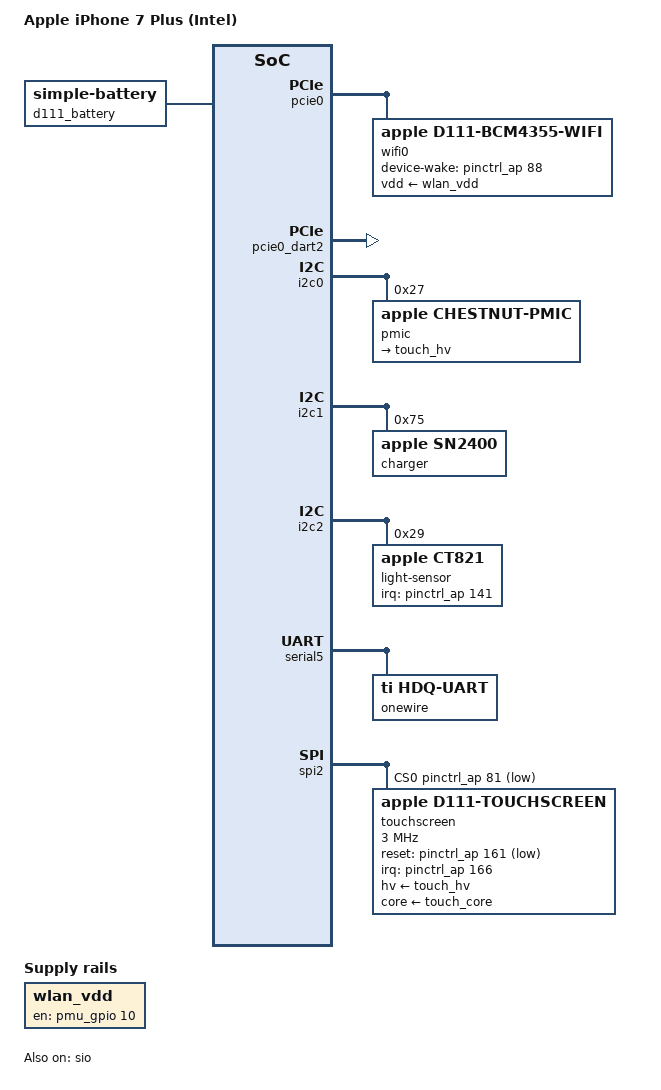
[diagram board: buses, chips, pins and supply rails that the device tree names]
// SPDX-License-Identifier: GPL-2.0+ OR MIT
/*
 * Apple iPhone 7 Plus (Intel), D111, iPhone9,4 (A1661/A1784/A1785/A1786)
 * Copyright (c) 2022, Konrad Dybcio <konradybcio@kernel.org>
 */

/dts-v1/;

#include "t8010-7.dtsi"

/ {
	compatible = "apple,d111", "apple,t8010", "apple,arm-platform";
	model = "Apple iPhone 7 Plus (Intel)";

	aliases {
		touchscreen0 = &touchscreen;
		wifi0 = &wifi0;
	};

	d111_battery: battery {
		compatible = "simple-battery";
		constant-charge-current-max-microamp = <1950000>;
	};

	wlan_vdd: regulator-wlan-vdd {
		compatible = "regulator-fixed";
		regulator-name = "wlan-vdd";
		gpio = <&pmu_gpio 10 GPIO_ACTIVE_HIGH>;
		enable-active-high;
		off-on-delay-us = <2500>;
	};
};

&pcie0 {
	iommu-map = <0x100 &pcie0_dart0 0 1>,
		    <0x200 &pcie0_dart2 0 1>;
	pinctrl-0 = <&wifi_clkreq>;
	pinctrl-names = "default";

	pci@2,0 {
		device_type = "pci";
		reg = <0x1000 0x0 0x0 0x0 0x0>;
		bus-range = <2 2>;
		max-link-speed = <1>;
		apple,manual-availability-iommu = <&pcie0_dart2 0>;
		reset-gpios = <&pinctrl_ap 14 GPIO_ACTIVE_LOW>;

		#address-cells = <3>;
		#size-cells = <2>;
		ranges;

		wifi0: wifi@0,0 {
			compatible = "apple,d111-bcm4355-wifi",
				     "pci14e4,43dc";
			reg = <0x20000 0x0 0x0 0x0 0x0>;
			device-wake-gpios = <&pinctrl_ap 88 GPIO_ACTIVE_HIGH>;
			vdd-supply = <&wlan_vdd>;
			apple,antenna-sku = "XX";
		};
	};
};

&pcie0_dart2 {
	status = "okay";
};

&i2c0 {
	status = "okay";

	pmic@27 {
		compatible = "apple,chestnut-pmic";
		reg = <0x27>;
		#address-cells = <1>;
		#size-cells = <1>;

		touch_hv: regulator-touch-hv {
			compatible = "apple,chestnut-touch-hv-regulator";
			regulator-name = "touch-hv";
		};
	};
};

&i2c1 {
	charger@75 {
		compatible = "apple,sn2400";
		reg = <0x75>;

		sn2400_charger: charger {
			compatible = "apple,sn2400-charger";
			monitored-battery = <&d111_battery>;
			input-current-limit-microamp = <2000000>;
			mux-states = <&hdq_mux 0>;
			mux-state-names = "hdq";
		};

		hdq_mux: hdq-mux {
			compatible = "apple,sn2400-hdq-mux";
			#mux-state-cells = <1>;
		};
	};
};

&i2c2 {
	status = "okay";

	light-sensor@29 {
		compatible = "apple,ct821", "amstaos,tsl2581";
		reg = <0x29>;
		interrupts-extended = <&pinctrl_ap 141 IRQ_TYPE_LEVEL_LOW>;
	};
};

&pinctrl_ap {
	battery_swi_pins: battery-swi-pins {
		pinmux = <APPLE_PINMUX(173, 1)>;
	};

	wifi_clkreq: wifi-clkreq-pins {
		pinmux = <APPLE_PINMUX(18, 1)>;
	};
};

&serial5 {
	pinctrl-0 = <&battery_swi_pins>;
	pinctrl-names = "default";
	status = "okay";

	onewire {
		compatible = "ti,hdq-uart";
		mux-states = <&hdq_mux 1>;
		mux-state-names = "hdq";

		fuel-gauge {
			compatible = "apple,d111-bq27545", "ti,bq27545-hdq";
			monitored-battery = <&d111_battery>;
		};
	};
};

&spi2 {
	cs-gpios = <&pinctrl_ap 81 GPIO_ACTIVE_LOW>;
	dmas = <&sio 0x18>;
	dma-names = "tx";
	status = "okay";

	touchscreen: touchscreen@0 {
		compatible = "apple,d111-touchscreen";
		reg = <0>;
		spi-max-frequency = <3000000>;
		spi-cpol;
		spi-cpha;
		apple,z2-no-init-ack;
		interrupts-extended = <&pinctrl_ap 166 IRQ_TYPE_EDGE_FALLING>;
		reset-gpios = <&pinctrl_ap 161 GPIO_ACTIVE_LOW>;
		hv-supply = <&touch_hv>;
		core-supply = <&touch_core>;
		clocks = <&touchclk>;
		firmware-name = "apple/dfrmtfw-d111-c1f5e-2.bin";
		touchscreen-size-x = <1080>;
		touchscreen-size-y = <1920>;
	};
};

&sio {
	status = "okay";
};

&touchclk {
	clock-frequency = <32768>;
};
